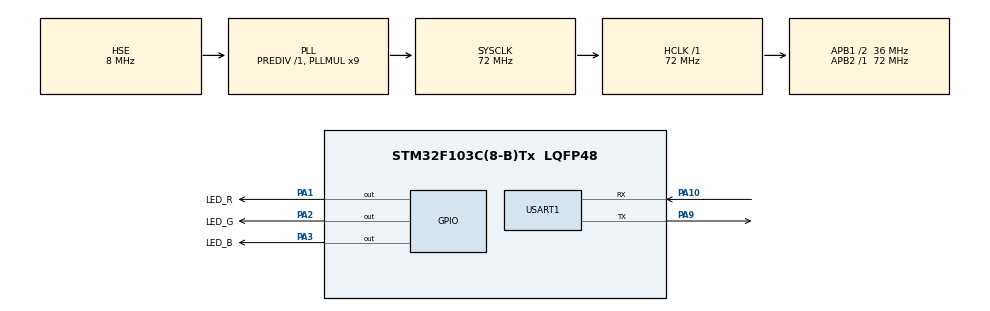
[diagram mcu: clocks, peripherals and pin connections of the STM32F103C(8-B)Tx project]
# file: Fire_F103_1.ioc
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Mcu.Family=STM32F1
Mcu.Name=STM32F103C(8-B)Tx
Mcu.Package=LQFP48
NVIC.PriorityGroup=NVIC_PRIORITYGROUP_4
NVIC.USART1_IRQn=true\:0\:0\:false\:false\:true\:true\:true\:true
PA1.GPIO_Label=LED_R
PA1.PinState=GPIO_PIN_SET
PA1.Signal=GPIO_Output
PA10.Mode=Asynchronous
PA10.Signal=USART1_RX
PA13.Mode=Serial_Wire
PA13.Signal=SYS_JTMS-SWDIO
PA14.Mode=Serial_Wire
PA14.Signal=SYS_JTCK-SWCLK
PA2.GPIO_Label=LED_G
PA2.PinState=GPIO_PIN_SET
PA2.Signal=GPIO_Output
PA3.GPIO_Label=LED_B
PA3.PinState=GPIO_PIN_SET
PA3.Signal=GPIO_Output
PA9.Mode=Asynchronous
PA9.Signal=USART1_TX
PC14-OSC32_IN.Mode=LSE-External-Oscillator
PC14-OSC32_IN.Signal=RCC_OSC32_IN
PC15-OSC32_OUT.Mode=LSE-External-Oscillator
PC15-OSC32_OUT.Signal=RCC_OSC32_OUT
PD0-OSC_IN.Mode=HSE-External-Oscillator
PD0-OSC_IN.Signal=RCC_OSC_IN
PD1-OSC_OUT.Mode=HSE-External-Oscillator
PD1-OSC_OUT.Signal=RCC_OSC_OUT
ProjectManager.HeapSize=0x200
ProjectManager.StackSize=0x400
ProjectManager.TargetToolchain=MDK-ARM V5.32
RCC.AHBFreq_Value=72000000
RCC.APB1CLKDivider=RCC_HCLK_DIV2
RCC.APB1Freq_Value=36000000
RCC.APB1TimFreq_Value=72000000
RCC.APB2Freq_Value=72000000
RCC.APB2TimFreq_Value=72000000
RCC.HCLKFreq_Value=72000000
RCC.PLLMUL=RCC_PLL_MUL9
RCC.PLLSourceVirtual=RCC_PLLSOURCE_HSE
RCC.SYSCLKFreq_VALUE=72000000
RCC.SYSCLKSource=RCC_SYSCLKSOURCE_PLLCLK
RCC.USBFreq_Value=72000000
USART1.VirtualMode=VM_ASYNC
board=custom

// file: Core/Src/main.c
/* USER CODE BEGIN Header */
/**
  ******************************************************************************
  * @file           : main.c
  * @brief          : Main program body
  ******************************************************************************
  * @attention
  *
  * Copyright (c) 2026 STMicroelectronics.
  * All rights reserved.
  *
  * This software is licensed under terms that can be found in the LICENSE file
  * in the root directory of this software component.
  * If no LICENSE file comes with this software, it is provided AS-IS.
  *
  ******************************************************************************
  */
/* USER CODE END Header */
#include "main.h"
#include "usart.h"
#include "gpio.h"

/* USER CODE BEGIN Includes */
#include <stdio.h>//使用printf
#include <string.h>//使用strncmp

/* USER CODE END Includes */

/* USER CODE BEGIN PV */
uint8_t RxBuff[3]={0};//最多接受三个字节
uint8_t RxCount =0;//接收计数

/* USER CODE END PV */

void SystemClock_Config(void);

int main(void)
{

  /* MCU Configuration--------------------------------------------------------*/

  /* Reset of all peripherals, Initializes the Flash interface and the Systick. */
  HAL_Init();

  /* Configure the system clock */
  SystemClock_Config();

  /* Initialize all configured peripherals */
  MX_GPIO_Init();
  MX_USART1_UART_Init();
  /* USER CODE BEGIN 2 */
	HAL_UART_Receive_IT(&huart1  ,RxBuff , 1);//启用接收中断
	printf("串口中断控制LED灯例程，命令：“ON”->点亮LED   “OFF”->熄灭LED \r\n");

  /* USER CODE END 2 */

  /* Infinite loop */
  while (1)
  {

  }
}

void SystemClock_Config(void)
{
  RCC_OscInitTypeDef RCC_OscInitStruct = {0};
  RCC_ClkInitTypeDef RCC_ClkInitStruct = {0};

  /** Initializes the RCC Oscillators according to the specified parameters
  * in the RCC_OscInitTypeDef structure.
  */
  RCC_OscInitStruct.OscillatorType = RCC_OSCILLATORTYPE_HSE;
  RCC_OscInitStruct.HSEState = RCC_HSE_ON;
  RCC_OscInitStruct.HSEPredivValue = RCC_HSE_PREDIV_DIV1;
  RCC_OscInitStruct.HSIState = RCC_HSI_ON;
  RCC_OscInitStruct.PLL.PLLState = RCC_PLL_ON;
  RCC_OscInitStruct.PLL.PLLSource = RCC_PLLSOURCE_HSE;
  RCC_OscInitStruct.PLL.PLLMUL = RCC_PLL_MUL9;
  if (HAL_RCC_OscConfig(&RCC_OscInitStruct) != HAL_OK)
  {
    Error_Handler();
  }

  /** Initializes the CPU, AHB and APB buses clocks
  */
  RCC_ClkInitStruct.ClockType = RCC_CLOCKTYPE_HCLK|RCC_CLOCKTYPE_SYSCLK
                              |RCC_CLOCKTYPE_PCLK1|RCC_CLOCKTYPE_PCLK2;
  RCC_ClkInitStruct.SYSCLKSource = RCC_SYSCLKSOURCE_PLLCLK;
  RCC_ClkInitStruct.AHBCLKDivider = RCC_SYSCLK_DIV1;
  RCC_ClkInitStruct.APB1CLKDivider = RCC_HCLK_DIV2;
  RCC_ClkInitStruct.APB2CLKDivider = RCC_HCLK_DIV1;

  if (HAL_RCC_ClockConfig(&RCC_ClkInitStruct, FLASH_LATENCY_2) != HAL_OK)
  {
    Error_Handler();
  }
}

/* USER CODE BEGIN 4 */
void HAL_UART_RxCpltCallback(UART_HandleTypeDef *huart)
{

	if(huart->Instance==USART1)
	{
			RxCount ++;//接收计数加一
		//如果接收到两个字节，将灯点亮，并且清空计数
		if(	RxCount==2&& strncmp((char*)RxBuff,"ON",2)==0)//如果接收到两个字节，且内容是“ON"
		{
		    	printf("接收到“ON”，LED已点亮");
				//点亮LED灯，（低电平有效）
			 HAL_GPIO_WritePin(GPIOA, LED_R_Pin|LED_G_Pin|LED_B_Pin, GPIO_PIN_RESET);
       	RxCount=0;
			//计数清零，清空接收缓冲区
				memset(RxBuff , 0 , sizeof(RxBuff) );
		}
		else if(	RxCount==3&&strncmp((char*)RxBuff,"OFF",3)==0)//如果接收到三个字节，且内容是“OFF"
		{
			printf("接收到“OFF”，LED已熄灭");
			//熄灭LED灯，（低电平有效）
			 HAL_GPIO_WritePin(GPIOA, LED_R_Pin|LED_G_Pin|LED_B_Pin, GPIO_PIN_SET);
					RxCount=0;//计数清零，清空接收缓冲区
				memset(RxBuff , 0 , sizeof(RxBuff) );
		}

				HAL_UART_Receive_IT(&huart1  ,&RxBuff[RxCount] , 1);//启用接收中断
	}

}
int fputc(int ch,FILE*F)
{
		HAL_UART_Transmit(&huart1,(uint8_t*)&ch,1,HAL_MAX_DELAY);
	  return ch;
}

/* USER CODE END 4 */

void Error_Handler(void)
{
  __disable_irq();
  while (1)
  {
  }
}
